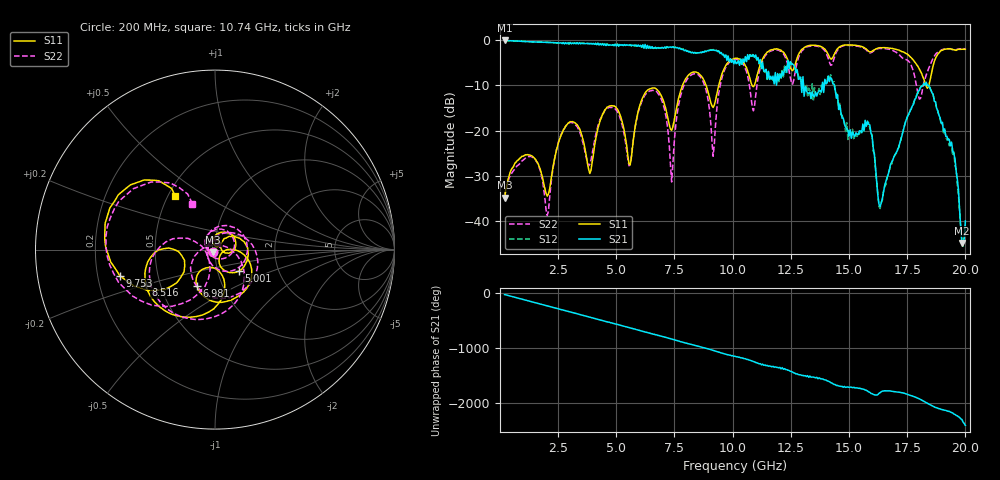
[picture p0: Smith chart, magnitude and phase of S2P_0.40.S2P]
!Agilent Technologies,E5071C,MY46108981,A.11.08
!Date: Sat Oct 19 16:30:12 2019
!Data & Calibration Information:
!Freq	S11:SOLT2(ON)	S21:SOLT2(ON)	S12:SOLT2(ON)	S22:SOLT2(ON)
!PortZ  Port1:50+j0  Port2:50+j0
!Above PortZ is port z conversion or system Z0 setting when saving the data.
!When reading, reference impedance value at option line is always used.
# Hz S RI R 50
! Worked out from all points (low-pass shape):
!   401 points, 200 MHz to 20 GHz, reference 50 ohm
!   highest |S21| = -0.07 dB at 200 MHz (marker M1); lowest = -44.8 dB at 19.85 GHz (marker M2)
!   |S21| within 3 dB of the highest: start of sweep to 9.538 GHz
!   lowest |S11| = -34.8 dB at 200 MHz (marker M3), VSWR 1.04, Z = 48.9 - j1.43 ohm
!   |S11| at or under -10 dB: start of sweep to 7.846 GHz; 8.859 GHz to 9.401 GHz (542.6 MHz wide, 5.94 % of centre); 18.3 GHz to 18.43 GHz (122.7 MHz wide, 0.668 % of centre)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
!   |S22| runs from -38.7 to -1.1 dB; largest |S21 - S12| = 0.076
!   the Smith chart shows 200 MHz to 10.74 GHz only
!   S11 on the Smith chart (normalised r, x): 200 MHz: 0.98, -0.03; 5.001 GHz: 1.27, -0.31; 6.981 GHz: 0.76, -0.32; 8.516 GHz: 0.41, -0.20; 9.753 GHz: 0.30, -0.12; 10.74 GHz: 0.54, +0.38
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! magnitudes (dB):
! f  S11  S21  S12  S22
! 200 MHz  -34.8  -0.1  -0.1  -34.7
! 1.388 GHz  -25.6  -0.4  -0.4  -25.9
! 2.031 GHz  -34.5  -0.5  -0.5  -38.7
! 2.724 GHz  -19.9  -0.5  -0.6  -19.7
! 3.516 GHz  -21.0  -0.7  -0.7  -21.7
! 5.001 GHz  -14.9  -1.3  -1.4  -15.5
! 5.595 GHz  -27.6  -1.1  -1.0  -27.3
! 6.833 GHz  -11.4  -1.7  -1.8  -12.1
! 6.981 GHz  -12.9  -1.6  -1.6  -13.7
! 7.377 GHz  -19.9  -1.6  -1.6  -31.3
! 8.516 GHz  -7.2  -2.8  -2.8  -7.6
! 9.159 GHz  -14.9  -2.2  -2.1  -25.7
! 9.753 GHz  -5.2  -4.5  -4.3  -5.6
! 10.1 GHz  -4.0  -4.5  -4.8  -4.3
! 10.74 GHz  -8.6  -3.3  -3.2  -10.9
! 13.42 GHz  -1.1  -11.5  -9.6  -1.2
! 16.34 GHz  -1.7  -36.8  -37.2  -1.8
! 16.73 GHz  -1.8  -28.7  -28.7  -2.0
! 18.37 GHz  -10.6  -10.1  -9.9  -7.0
! 19.46 GHz  -2.1  -24.5  -25.5  -2.1
! 19.85 GHz  -2.0  -44.8  -44.5  -1.9
! 20 GHz  -2.0  -40.0  -40.5  -1.9
